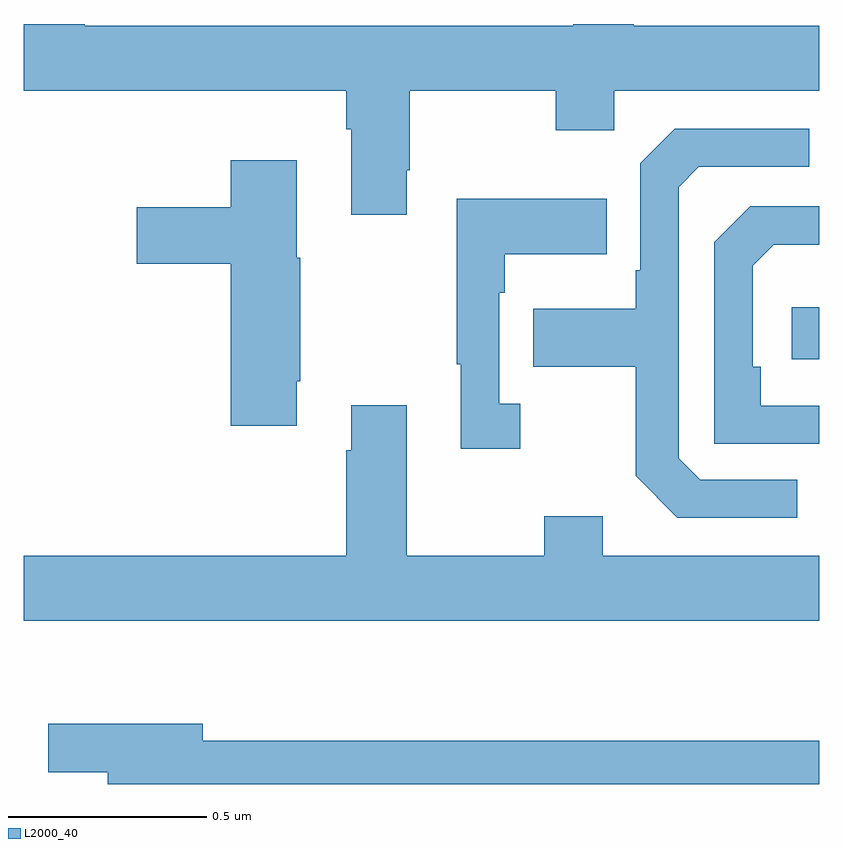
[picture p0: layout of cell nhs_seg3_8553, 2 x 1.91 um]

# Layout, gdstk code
import gdstk
lib = gdstk.Library(unit=1e-6, precision=1e-09)
def R(c, l, rs):  # rectangles x0, y0, x1, y1
    for r in rs: c.add(gdstk.rectangle(r[:2], r[2:], *l))
def P(c, l, *ps):  # polygons
    for p in ps: c.add(gdstk.Polygon(p, *l))
L2000_40 = (2000, 40)

nhs_seg3_8553 = lib.new_cell('nhs_seg3_8553')
R(nhs_seg3_8553, L2000_40, [(218.931,717.558,219,717.688)])
P(nhs_seg3_8553, L2000_40, [(217.963,718.033),(217.971,718.033),(217.971,718.232),(218.338,718.232),(218.338,718.133),(218.484,718.133),(218.484,718.232),(219,718.232),(219,718.396),(218.533,718.396),(218.533,718.4),(218.381,718.4),(218.381,718.396),(217.154,718.396),(217.154,718.4),(217,718.4),(217,718.232),(217.811,718.232),(217.811,718.136),(217.823,718.136),(217.823,717.921),(217.963,717.921)],
  [(218.944,717.255),(218.7,717.255),(218.646,717.309),(218.646,717.99),(218.697,718.041),(218.974,718.041),(218.974,718.137),(218.637,718.137),(218.55,718.05),(218.55,717.781),(218.538,717.781),(218.538,717.685),(218.281,717.685),(218.281,717.538),(218.538,717.538),(218.538,717.265),(218.643,717.159),(218.944,717.159)],
  [(217.687,717.502),(217.695,717.502),(217.695,717.813),(217.687,717.813),(217.687,718.057),(217.52,718.057),(217.52,717.939),(217.284,717.939),(217.284,717.797),(217.52,717.797),(217.52,717.39),(217.687,717.39)],
  [(218.248,717.446),(218.196,717.446),(218.196,717.725),(218.209,717.725),(218.209,717.821),(218.465,717.821),(218.465,717.961),(218.088,717.961),(218.088,717.545),(218.099,717.545),(218.099,717.333),(218.248,717.333)],
  [(219,717.441),(218.852,717.441),(218.852,717.538),(218.832,717.538),(218.832,717.792),(218.885,717.845),(219,717.845),(219,717.942),(218.826,717.942),(218.736,717.852),(218.736,717.345),(219,717.345)],
  [(219,717.064),(218.455,717.064),(218.455,717.163),(218.308,717.163),(218.308,717.064),(217.963,717.064),(217.963,717.442),(217.823,717.442),(217.823,717.329),(217.811,717.329),(217.811,717.064),(217,717.064),(217,716.9),(219,716.9)],
  [(219,716.599),(217.45,716.599),(217.45,716.641),(217.062,716.641),(217.062,716.519),(217.211,716.519),(217.211,716.49),(219,716.49)])

lib.write_gds('nhs_seg3_8553.gds')
